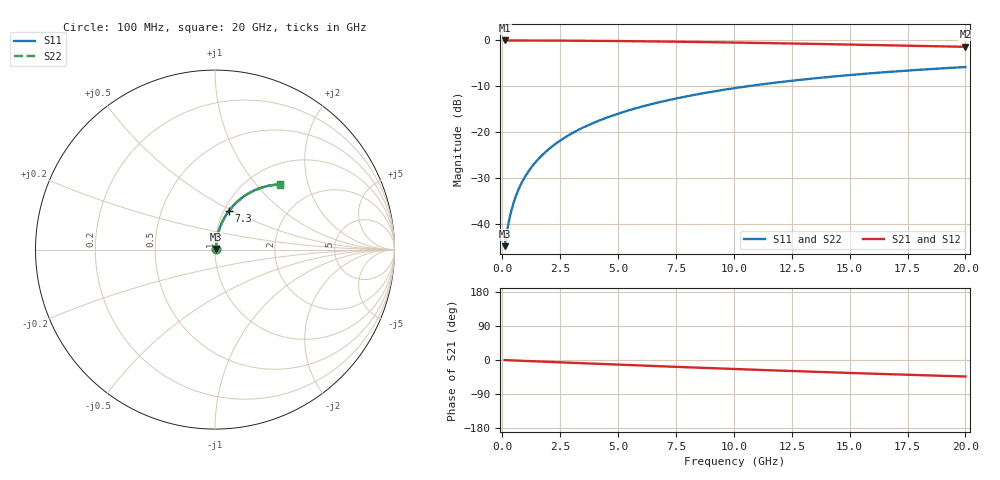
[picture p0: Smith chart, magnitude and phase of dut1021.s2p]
! Touchstone file exported from HFSS 2026.1.0
!  File:  C:/ffzhzh/LocalFiles/Ansys_Project_Files/temp_train_TMRDL_1021_1783159867_51560.aedt
!  Generated:  06:12:21 PM Jul  4, 2026
!  Design:  TMRDL
!  Project:  temp_train_TMRDL_1021_1783159867_51560
! Variables:
!  h_bsmrdl = 2um
!  h_ox = 20um
!  h_rdl = 5um
!  h_sub = 80um
!  h_tmrdl = 2.91um
!  h_tsv = 80um
!  h_via = 3um
!  l_bsmrdl = 300um
!  l_sub = 932.12um
!  l_tmrdl = 532.12um
!  m_sub = 200um
!  pitch = 59.99um
!  r_tsv = 6um
!  s_tmrdl = 10um
!  w_bsmrdl = 18um
!  w_sub = 500um
!  w_tmrdl = 14.45um
!  x_tsv_center1 = 539.345um
!  x_tsv_center2 = 857.345um
!  x_tsv_center3 = 1403.915um
!  x_tsv_center4 = 1721.915um
!  x_tsv_center5 = 2268.485um
!  x_tsv_center6 = 2586.485um
# GHz S MA R 50.000000
! Terminal data exported
! Port[1] = TM_RDL1_1_T1
! Port[2] = TM_RDL1_1_T2
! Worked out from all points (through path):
!   200 points, 100 MHz to 20 GHz, reference 50 ohm
!   highest |S21| = -0.04 dB at 100 MHz (marker M1); lowest = -1.4 dB at 20 GHz (marker M2)
!   group delay of S21, straight-line fit = 6.07 ps
!   lowest |S11| = -44.9 dB at 100 MHz (marker M3), VSWR 1.01, Z = 50.5 + j0.338 ohm
!   |S11| at or under -10 dB: start of sweep to 10.63 GHz
!   |S22| runs from -44.9 to -5.8 dB; largest |S21 - S12| = 3.1e-15
!   S11 on the Smith chart (normalised r, x): 100 MHz: 1.01, +0.01; 7.3 GHz: 1.05, +0.47; 20 GHz: 1.36, +1.34
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0.1  0.005705 36.0  0.9954 -0.3  0.9954 -0.3  0.005705 36.0
! Gamma 0 0 0 0
! Port Impedance 50 0 50 0
0.2  0.008183 54.8  0.9953 -0.5  0.9953 -0.5  0.008184 54.8
0.3  0.01111 63.9  0.9952 -0.8  0.9952 -0.8  0.01111 63.9
0.4  0.01419 69.0  0.9951 -1.0  0.9951 -1.0  0.01419 69.0
0.5  0.01732 72.2  0.9949 -1.3  0.9949 -1.3  0.01732 72.2
0.6  0.02047 74.3  0.9948 -1.5  0.9948 -1.5  0.02047 74.3
0.8  0.02679 76.8  0.9945 -2.0  0.9945 -2.0  0.02679 76.8
1.1  0.03629 78.8  0.994 -2.7  0.994 -2.7  0.03629 78.8
1.5  0.04898 79.8  0.9933 -3.7  0.9933 -3.7  0.04898 79.8
1.8  0.05851 80.1  0.9927 -4.5  0.9927 -4.5  0.05851 80.1
2.1  0.06803 80.0  0.992 -5.2  0.992 -5.2  0.06803 80.0
2.7  0.08702 79.5  0.9904 -6.7  0.9904 -6.7  0.08702 79.5
3.5  0.1122 78.3  0.9876 -8.6  0.9876 -8.6  0.1122 78.3
4.2  0.1339 77.0  0.9847 -10.3  0.9847 -10.3  0.1339 77.0
5  0.1584 75.4  0.9807 -12.2  0.9807 -12.2  0.1584 75.4
6.8  0.2119 71.5  0.9699 -16.5  0.9699 -16.5  0.2119 71.5
7.3  0.2263 70.4  0.9664 -17.6  0.9664 -17.6  0.2263 70.4
8.6  0.2627 67.6  0.9567 -20.6  0.9567 -20.6  0.2627 67.6
10.1  0.3027 64.4  0.9442 -23.9  0.9442 -23.9  0.3027 64.4
13.4  0.3829 57.6  0.9137 -31.0  0.9137 -31.0  0.3829 57.5
16.7  0.4522 51.2  0.881 -37.5  0.881 -37.5  0.4522 51.1
20  0.511 45.2  0.8482 -43.5  0.8482 -43.5  0.511 45.2
